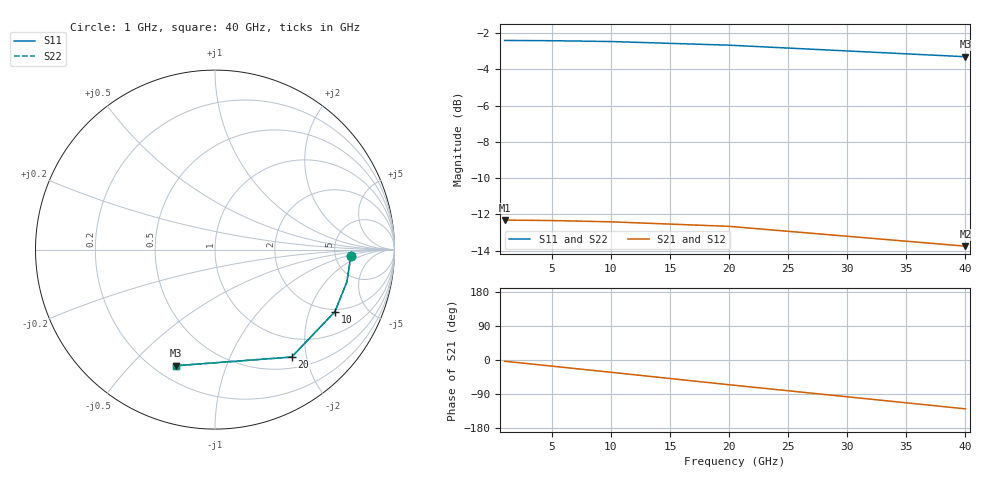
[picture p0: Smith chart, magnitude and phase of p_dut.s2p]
! Generated by circuitRF - EM: Full-wave planar
! circuitRF-EM setup: p_zigzag
! circuitRF-EM layout: zigzag/layout/zigzag.clay
! circuitRF-EM written: 2026-11-04 15:53:19Z
! circuitRF-EM geometry: a3e875c1fd11197f
! circuitRF-EM mesh: 025622186bca0020
! circuitRF-EM ports: aadff3e0f2ed34c8
! circuitRF-EM model: grounded-edge-port-2026-10-14
! Port[1] = 1
! Port[2] = 2
! circuitRF-EM port 1: '1' at (0, 0 um), edge, de-embedded, 50 Ohm
! circuitRF-EM port 2: '2' at (800, 0 um), edge, de-embedded, 50 Ohm
! circuitRF-EM: port N of this file is the label named on the 'port N' line above. A circuit that composes this result binds its nets in that order; two ports of a reciprocal part swapped gives a plausible curve of a different structure.
! circuitRF-EM: re-running the EM setup rewrites this file. If circuitRF reports it as stale, the layout's cross-section changed after this file was written.
# GHz S RI R 50
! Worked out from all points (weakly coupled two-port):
!   5 points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, 1 GHz to 40 GHz, reference 50 ohm
!   highest |S21| = -12.31 dB at 1 GHz (marker M1); lowest = -13.8 dB at 40 GHz (marker M2)
!   lowest |S11| = -3.3 dB at 40 GHz (marker M3), VSWR 5.32, Z = 14 - j34 ohm
!   |S11| at or under -10 dB: nowhere
!   |S22| runs from -3.3 to -2.4 dB; largest |S21 - S12| = 3.9e-09
!   S11 on the Smith chart (normalised r, x): 1 GHz: 7.04, -1.20; 10 GHz: 1.89, -3.01; 20 GHz: 0.67, -1.74; 40 GHz: 0.28, -0.68
1  0.7568 -0.0363  0.2419 -0.0137  0.2419 -0.0137  0.7568 -0.0363
5  0.7349 -0.1792  0.232 -0.0673  0.232 -0.0673  0.7349 -0.1792
10  0.6684 -0.3457  0.2023 -0.1284  0.2023 -0.1284  0.6684 -0.3457
20  0.4271 -0.5985  0.0974 -0.2115  0.0974 -0.2115  0.4271 -0.5985
40  -0.2195 -0.6471  -0.129 -0.1597  -0.129 -0.1597  -0.2195 -0.6472
